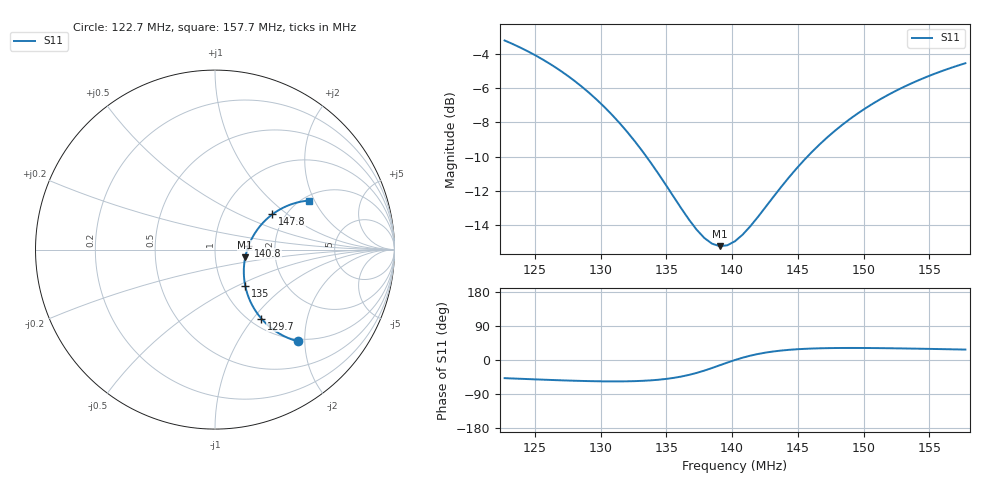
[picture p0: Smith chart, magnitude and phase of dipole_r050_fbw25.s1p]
! Free-space dipole, 1.0 m, 5.0 mm radius
! resonance 140.22 MHz, antenna Q 5.1, fractional bandwidth 25%
! generated with NEC via necpp
# MHZ S MA R 50
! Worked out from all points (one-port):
!   61 points, 122.7 MHz to 157.7 MHz, reference 50 ohm
!   lowest |S11| = -15.2 dB at 139.1 MHz (marker M1), VSWR 1.42, Z = 70 - j6.07 ohm
!   |S11| at or under -10 dB: 133.5 MHz to 145.7 MHz (12.24 MHz wide, 8.77 % of centre)
!   S11 on the Smith chart (normalised r, x): 122.7 MHz: 0.95, -1.86; 129.7 MHz: 1.13, -1.10; 135 MHz: 1.27, -0.55; 140.8 MHz: 1.46, +0.06; 147.8 MHz: 1.71, +0.79; 157.7 MHz: 2.16, +1.82
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122.6912  0.6887 -47.9
125.0282  0.6235 -51.1
126.1966  0.587 -52.6
127.3651  0.548 -54.0
128.5336  0.5066 -55.2
129.7021  0.4632 -56.1
130.8706  0.4183 -56.5
132.0391  0.3725 -56.2
133.2076  0.3269 -54.9
134.9603  0.2618 -50.0
136.1288  0.2238 -43.7
137.2973  0.1941 -34.1
137.8815  0.1836 -28.0
138.4658  0.1767 -21.2
139.05  0.1737 -14.0
139.6343  0.1748 -6.8
140.2185  0.1796 0.0
140.8027  0.1877 6.1
141.387  0.1985 11.5
143.1397  0.2417 22.5
144.8924  0.292 28.3
146.0609  0.3262 30.2
147.8137  0.376 31.6
148.9822  0.4076 31.8
151.3191  0.4657 31.3
153.6561  0.517 30.1
155.4088  0.5512 29.1
157.7458  0.5914 27.5
